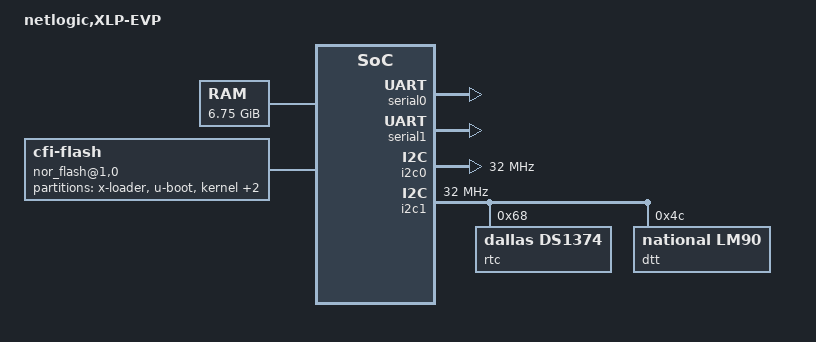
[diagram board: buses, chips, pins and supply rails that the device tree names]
/*
 * XLP8XX Device Tree Source for EVP boards
 */

/dts-v1/;
/ {
	model = "netlogic,XLP-EVP";
	compatible = "netlogic,xlp";
	#address-cells = <2>;
	#size-cells = <2>;

	memory {
		device_type = "memory";
		reg =  <0 0x00100000 0 0x0FF00000	// 255M at 1M
			0 0x20000000 0 0xa0000000	// 2560M at 512M
			0 0xe0000000 1 0x00000000>;
	};

	soc {
		#address-cells = <2>;
		#size-cells = <1>;
		compatible = "simple-bus";
		ranges = <0 0  0 0x18000000  0x04000000   // PCIe CFG
			  1 0  0 0x16000000  0x01000000>; // GBU chipselects

		serial0: serial@30000 {
			device_type = "serial";
			compatible = "ns16550";
			reg = <0 0x30100 0xa00>;
			reg-shift = <2>;
			reg-io-width = <4>;
			clock-frequency = <133333333>;
			interrupt-parent = <&pic>;
			interrupts = <17>;
		};
		serial1: serial@31000 {
			device_type = "serial";
			compatible = "ns16550";
			reg = <0 0x31100 0xa00>;
			reg-shift = <2>;
			reg-io-width = <4>;
			clock-frequency = <133333333>;
			interrupt-parent = <&pic>;
			interrupts = <18>;
		};
		i2c0: ocores@32000 {
			compatible = "opencores,i2c-ocores";
			#address-cells = <1>;
			#size-cells = <0>;
			reg = <0 0x32100 0xa00>;
			reg-shift = <2>;
			reg-io-width = <4>;
			clock-frequency = <32000000>;
			interrupt-parent = <&pic>;
			interrupts = <30>;
		};
		i2c1: ocores@33000 {
			compatible = "opencores,i2c-ocores";
			#address-cells = <1>;
			#size-cells = <0>;
			reg = <0 0x33100 0xa00>;
			reg-shift = <2>;
			reg-io-width = <4>;
			clock-frequency = <32000000>;
			interrupt-parent = <&pic>;
			interrupts = <31>;

			rtc@68 {
				compatible = "dallas,ds1374";
				reg = <0x68>;
			};

			dtt@4c {
				compatible = "national,lm90";
				reg = <0x4c>;
			};
		};
		pic: pic@4000 {
			compatible = "netlogic,xlp-pic";
			#address-cells = <0>;
			#interrupt-cells = <1>;
			reg = <0 0x4000 0x200>;
			interrupt-controller;
		};

		nor_flash@1,0 {
			compatible = "cfi-flash";
			#address-cells = <1>;
			#size-cells = <1>;
			bank-width = <2>;
			reg = <1 0 0x1000000>;

			partition@0 {
				label = "x-loader";
				reg = <0x0 0x100000>; /* 1M */
				read-only;
			};

			partition@100000 {
				label = "u-boot";
				reg = <0x100000 0x100000>; /* 1M */
			};

			partition@200000 {
				label = "kernel";
				reg = <0x200000 0x500000>; /* 5M */
			};

			partition@700000 {
				label = "rootfs";
				reg = <0x700000 0x800000>; /* 8M */
			};

			partition@f00000 {
				label = "env";
				reg = <0xf00000 0x100000>; /* 1M */
				read-only;
			};
		};
	};

	chosen {
		bootargs = "console=ttyS0,115200 rdinit=/sbin/init";
	};
};
